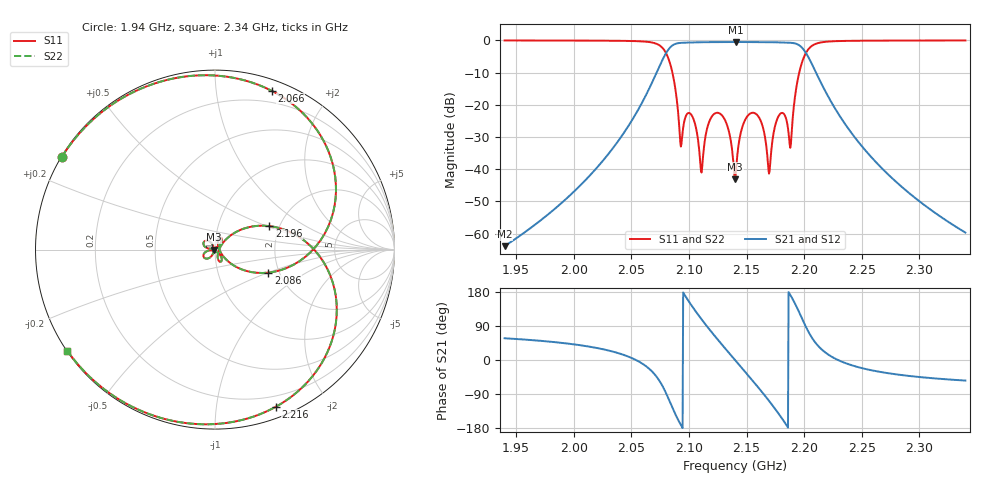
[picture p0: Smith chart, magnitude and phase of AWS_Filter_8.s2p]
!Port 1 is shunt  connected
!Port 2 is shunt  connected
!prototype= pole placed tchebycheff
!n=  5,  np= 0,  rl=  22.000dB
!transform= band pass
!f0= 2140.000MHz,  bw=  100.000MHz, q0=1150.000
!fstart= 1940.000MHz, fstep=  0.500MHz, fstop= 2340.000MHz
# MHZ S MA R 50
!Freq  Mag(S11)  Arg(S11)  Mag(S21)  Arg(S21)  Mag(S12)  Arg(S12)  Mag(S22)  Arg(S22)
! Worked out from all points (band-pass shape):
!   801 points, 1.94 GHz to 2.34 GHz, reference 50 ohm
!   highest |S21| = -0.50 dB at 2.14 GHz (marker M1); lowest = -63.9 dB at 1.94 GHz (marker M2)
!   |S21| within 3 dB of the highest: 2.081 GHz to 2.201 GHz (120 MHz wide, 5.6 % of centre)
!   lowest |S11| = -43.1 dB at 2.14 GHz (marker M3), VSWR 1.01, Z = 49.3 - j0.000145 ohm
!   |S11| at or under -10 dB: 2.086 GHz to 2.196 GHz (110.1 MHz wide, 5.14 % of centre)
!   |S22| runs from -43.1 to 0.0 dB; largest |S21 - S12| = 0
!   S11 on the Smith chart (normalised r, x): 1.94 GHz: 0.00, +0.28; 2.066 GHz: 0.09, +1.41; 2.086 GHz: 1.76, -0.50; 2.196 GHz: 1.77, +0.52; 2.216 GHz: 0.10, -1.46; 2.34 GHz: 0.00, -0.31
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1940  0.9972 148.8  0.0006385 57.4  0.0006385 57.4  0.9972 148.8
2007  0.993 130.6  0.005915 38.4  0.005915 38.4  0.993 130.6
2066  0.9396 70.4  0.1861 -24.5  0.1861 -24.5  0.9396 70.4
2073.5  0.8572 45.3  0.3641 -50.8  0.3641 -50.8  0.8572 45.3
2085.5  0.3245 -23.3  0.8305 -124.7  0.8305 -124.7  0.3245 -23.3
2093  0.02244 15.6  0.9151 -171.4  0.9151 -171.4  0.02244 15.6
2101.5  0.07219 59.6  0.9275 147.3  0.9275 147.3  0.07219 59.6
2112.5  0.01767 163.3  0.9375 101.3  0.9375 101.3  0.01767 163.3
2117.5  0.05396 166.0  0.9385 81.8  0.9385 81.8  0.05396 166.0
2126  0.07443 141.1  0.9397 50.3  0.9397 50.3  0.07443 141.1
2140  0.007006 -180.0  0.9437 -0.0  0.9437 -0.0  0.007006 -180.0
2140.5  0.00795 -153.4  0.9437 -1.8  0.9437 -1.8  0.00795 -153.4
2154  0.07437 -140.8  0.9405 -49.9  0.9405 -49.9  0.07437 -140.8
2162.5  0.05536 -165.5  0.9397 -81.0  0.9397 -81.0  0.05536 -165.5
2168  0.01652 -162.3  0.939 -101.8  0.939 -101.8  0.01652 -162.3
2179.5  0.07312 -60.4  0.9296 -148.6  0.9296 -148.6  0.07312 -60.4
2188  0.02151 -18.5  0.9187 171.7  0.9187 171.7  0.02151 -18.5
2196  0.3303 23.4  0.8334 124.1  0.8334 124.1  0.3303 23.4
2207  0.8274 -38.3  0.4202 57.7  0.4202 57.7  0.8274 -38.3
2216  0.9388 -68.8  0.1967 25.9  0.1967 25.9  0.9388 -68.8
2273.5  0.9928 -127.2  0.008114 -35.1  0.008114 -35.1  0.9928 -127.2
2340  0.9972 -145.6  0.001037 -54.3  0.001037 -54.3  0.9972 -145.6
